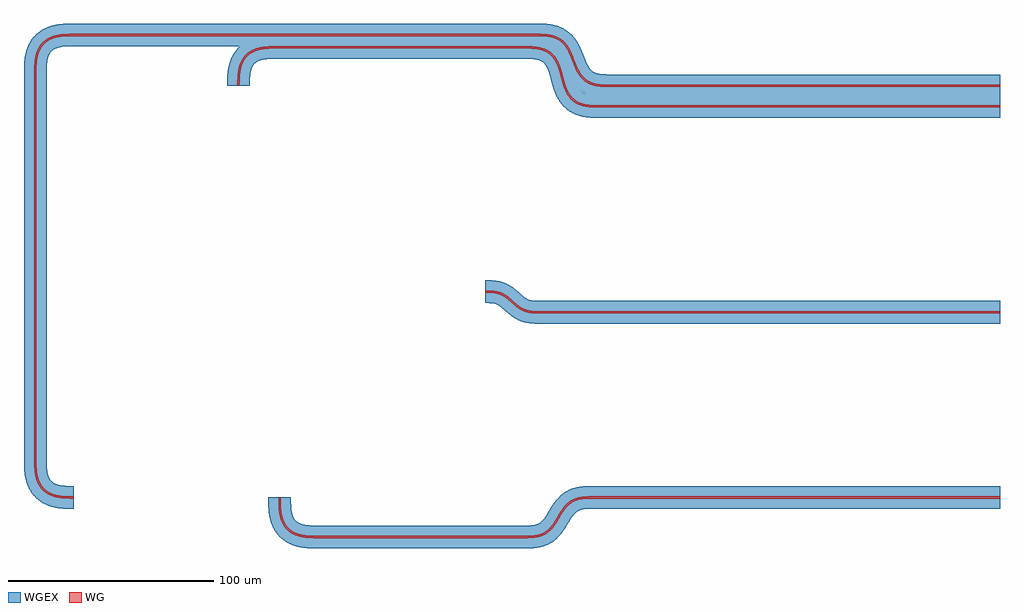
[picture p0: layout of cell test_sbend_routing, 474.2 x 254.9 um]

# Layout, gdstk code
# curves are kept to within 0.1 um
from math import pi, radians
import gdstk
lib = gdstk.Library(unit=1e-6, precision=1e-09)
def R(c, l, rs):  # rectangles x0, y0, x1, y1
    for r in rs: c.add(gdstk.rectangle(r[:2], r[2:], *l))
def P(c, l, *ps):  # polygons
    for p in ps: c.add(gdstk.Polygon(p, *l))
WG = (1, 0)
WGEX = (1, 1)

demo_straight_cssym_4d6c = lib.new_cell('DEMO.straight_CSsym_4d6c5e63_1000_L197759')
R(demo_straight_cssym_4d6c, WG, [(0,-0.5,197.759,0.5)])
R(demo_straight_cssym_4d6c, WGEX, [(0,-5.5,197.759,5.5)])

demo_bend_s_euler_cssym_ = lib.new_cell('DEMO.bend_s_euler_CSsym_4d6c5e63_1000_O19p201_R10_R150')
P(demo_bend_s_euler_cssym_, WG, [(0,-0.5),(0,0.5),(4.009,0.605),(6.866,1.039),(9.305,1.901),(11.251,3.151),(12.578,4.395),(14.066,6.233),(17.89,12.412),(19.326,14.433),(21.231,16.465),(23.048,17.796),(25.096,18.74),(27.257,19.309),(30.001,19.631),(33.54,19.701),(33.54,18.701),(29.531,18.596),(26.675,18.162),(24.235,17.3),(22.289,16.05),(20.962,14.806),(19.475,12.968),(15.65,6.789),(14.214,4.768),(12.309,2.736),(10.492,1.405),(8.444,0.461),(6.283,-0.108),(3.54,-0.43)])
P(demo_bend_s_euler_cssym_, WGEX, [(0,-5.5),(0,5.5),(3.184,5.56),(5.176,5.789),(6.863,6.28),(8.105,7.037),(9.158,8.068),(10.12,9.314),(13.69,15.125),(15.856,18.087),(18.212,20.464),(20.868,22.309),(23.442,23.458),(26.334,24.223),(29.382,24.601),(33.54,24.701),(33.54,13.701),(30.357,13.641),(28.365,13.412),(26.677,12.921),(25.435,12.164),(24.501,11.267),(23.42,9.887),(19.85,4.076),(17.91,1.386),(15.621,-1.009),(13.034,-2.901),(10.466,-4.123),(7.56,-4.953),(4.158,-5.4)])

c_demo_straight_cssym_4d6c = lib.new_cell('DEMO.straight_CSsym_4d6c5e63_1000_L100000')
R(c_demo_straight_cssym_4d6c, WG, [(0,-0.5,100,0.5)])
R(c_demo_straight_cssym_4d6c, WGEX, [(0,-5.5,100,5.5)])

c_demo_bend_s_euler_cssym_ = lib.new_cell('DEMO.bend_s_euler_CSsym_4d6c5e63_1000_O10_R10_R150')
P(c_demo_bend_s_euler_cssym_, WG, [(0,-0.5),(0,0.5),(2.67,0.544),(4.759,0.755),(6.52,1.172),(8.175,1.875),(10.565,3.465),(15.73,7.821),(17.123,8.737),(18.631,9.488),(20.239,10.01),(21.884,10.312),(26.254,10.5),(26.254,9.5),(23.584,9.456),(21.495,9.245),(19.734,8.828),(18.079,8.125),(15.689,6.535),(10.525,2.179),(9.132,1.263),(7.623,0.512),(6.016,-0.01),(4.37,-0.312)])
P(c_demo_bend_s_euler_cssym_, WGEX, [(0,-5.5),(0,5.5),(3.604,5.639),(5.71,6.229),(7.471,7.393),(13.068,12.065),(15.276,13.43),(17.114,14.265),(19.041,14.864),(21.246,15.272),(26.254,15.5),(26.254,4.5),(22.65,4.361),(20.545,3.771),(18.784,2.607),(13.186,-2.065),(11.319,-3.245),(9.14,-4.265),(7.213,-4.864),(5.008,-5.272)])

c_demo_straight_cssym_4d6c_ = lib.new_cell('DEMO.straight_CSsym_4d6c5e63_1000_L223746')
R(c_demo_straight_cssym_4d6c_, WG, [(0,-0.5,223.746,0.5)])
R(c_demo_straight_cssym_4d6c_, WGEX, [(0,-5.5,223.746,5.5)])

c_demo_straight_cssym_4d6c__ = lib.new_cell('DEMO.straight_CSsym_4d6c5e63_1000_L187299')
R(c_demo_straight_cssym_4d6c__, WG, [(0,-0.5,187.299,0.5)])
R(c_demo_straight_cssym_4d6c__, WGEX, [(0,-5.5,187.299,5.5)])

demo_bend_euler_cssym_4d = lib.new_cell('DEMO.bend_euler_CSsym_4d6c5e63_1000_R10_A90_R150')
P(demo_bend_euler_cssym_4d, WG, [(0,-0.5),(0,0.5),(5.845,0.715),(7.918,1.042),(9.683,1.509),(12.281,2.658),(14.322,4.199),(15.91,6.2),(17.11,8.772),(17.659,10.782),(17.986,12.856),(18.201,18.701),(19.201,18.701),(19.035,13.289),(18.38,9.504),(17.177,6.404),(16.298,4.976),(15.219,3.681),(13.951,2.569),(12.542,1.657),(11.034,0.937),(9.197,0.321),(5.412,-0.334)])
P(demo_bend_euler_cssym_4d, WGEX, [(0,-5.5),(0,5.5),(4.198,5.589),(6.893,5.936),(9.219,6.691),(10.834,7.781),(12.01,9.482),(12.765,11.808),(13.112,14.503),(13.201,18.701),(24.201,18.701),(23.983,12.512),(23.662,10.222),(23.109,7.851),(22.396,5.785),(21.415,3.731),(20.128,1.745),(18.801,0.193),(17.276,-1.181),(15.308,-2.522),(13.261,-3.551),(11.194,-4.306),(8.813,-4.898),(6.51,-5.248)])

c_demo_bend_s_euler_cssym__ = lib.new_cell('DEMO.bend_s_euler_CSsym_4d6c5e63_1000_O28p701_R10_R150')
P(c_demo_bend_s_euler_cssym__, WG, [(0,-0.5),(0,0.5),(5.325,0.694),(7.399,1.028),(9.398,1.609),(11.701,2.762),(13.641,4.432),(15.164,6.523),(16.408,9.119),(17.25,11.63),(19.024,18.135),(20.198,21.213),(21.733,23.853),(22.805,25.147),(23.836,26.107),(26.217,27.596),(29.113,28.588),(32.381,29.078),(36.996,29.201),(36.996,28.201),(31.671,28.007),(29.597,27.673),(27.598,27.092),(25.295,25.939),(23.356,24.269),(21.832,22.178),(20.588,19.582),(19.746,17.071),(17.973,10.566),(16.798,7.488),(15.263,4.848),(14.191,3.554),(13.16,2.594),(10.779,1.105),(7.883,0.113),(4.615,-0.377)])
P(c_demo_bend_s_euler_cssym__, WGEX, [(0,-5.5),(0,5.5),(3.92,5.587),(6.683,5.996),(8.728,6.799),(10.125,8.008),(11.114,9.526),(11.97,11.53),(14.073,19.047),(15.385,22.701),(17.05,25.854),(19.179,28.589),(20.667,29.974),(22.342,31.172),(24.442,32.282),(26.566,33.076),(28.659,33.607),(31.013,33.971),(36.996,34.201),(36.996,23.201),(33.076,23.114),(30.313,22.705),(28.268,21.902),(26.871,20.693),(25.882,19.175),(25.026,17.171),(22.834,9.36),(21.611,6),(19.946,2.847),(17.817,0.112),(16.329,-1.273),(14.654,-2.471),(12.554,-3.581),(10.43,-4.375),(8.337,-4.906),(5.983,-5.27)])

c_demo_straight_cssym_4d6c___ = lib.new_cell('DEMO.straight_CSsym_4d6c5e63_1000_L120000')
R(c_demo_straight_cssym_4d6c___, WG, [(0,-0.5,120,0.5)])
R(c_demo_straight_cssym_4d6c___, WGEX, [(0,-5.5,120,5.5)])

c_demo_straight_cssym_4d6c____ = lib.new_cell('DEMO.straight_CSsym_4d6c5e63_1000_L194303')
R(c_demo_straight_cssym_4d6c____, WG, [(0,-0.5,194.303,0.5)])
R(c_demo_straight_cssym_4d6c____, WGEX, [(0,-5.5,194.303,5.5)])

c_demo_straight_cssym_4d6c_____ = lib.new_cell('DEMO.straight_CSsym_4d6c5e63_1000_L224701')
R(c_demo_straight_cssym_4d6c_____, WG, [(0,-0.5,224.701,0.5)])
R(c_demo_straight_cssym_4d6c_____, WGEX, [(0,-5.5,224.701,5.5)])

c_demo_bend_s_euler_cssym___ = lib.new_cell('DEMO.bend_s_euler_CSsym_4d6c5e63_1000_O24p701_R10_R150')
P(c_demo_bend_s_euler_cssym___, WG, [(0,-0.5),(0,0.5),(5.285,0.708),(7.083,1.009),(8.822,1.504),(10.902,2.49),(12.704,3.904),(14.2,5.672),(15.538,7.903),(18.817,15.779),(20.181,18.453),(21.782,20.699),(23.822,22.596),(26.011,23.833),(28.648,24.669),(31.629,25.091),(35.946,25.201),(35.946,24.201),(30.662,23.993),(28.863,23.692),(27.124,23.197),(25.045,22.211),(23.242,20.797),(21.747,19.029),(20.408,16.798),(17.129,8.922),(15.765,6.248),(13.981,3.793),(12.124,2.105),(9.936,0.868),(7.298,0.032),(4.317,-0.39)])
P(c_demo_bend_s_euler_cssym___, WGEX, [(0,-5.5),(0,5.5),(3.644,5.577),(6.008,5.891),(7.944,6.559),(9.309,7.58),(10.32,8.855),(11.276,10.56),(14.122,17.521),(15.544,20.422),(17.286,23.089),(19.045,25.085),(20.554,26.396),(22.259,27.535),(24.031,28.424),(25.814,29.085),(27.919,29.625),(30.278,29.988),(35.946,30.201),(35.946,19.201),(32.303,19.124),(29.939,18.81),(28.002,18.142),(26.637,17.121),(25.627,15.846),(24.67,14.141),(21.824,7.18),(20.402,4.279),(18.881,1.906),(16.901,-0.384),(15.392,-1.695),(13.688,-2.834),(11.916,-3.723),(10.133,-4.384),(8.028,-4.924),(5.668,-5.287)])

c_demo_straight_cssym_4d6c______ = lib.new_cell('DEMO.straight_CSsym_4d6c5e63_1000_L500')
R(c_demo_straight_cssym_4d6c______, WG, [(0,-0.5,0.5,0.5)])
R(c_demo_straight_cssym_4d6c______, WGEX, [(0,-5.5,0.5,5.5)])

c_demo_straight_cssym_4d6c_______ = lib.new_cell('DEMO.straight_CSsym_4d6c5e63_1000_L189353')
R(c_demo_straight_cssym_4d6c_______, WG, [(0,-0.5,189.353,0.5)])
R(c_demo_straight_cssym_4d6c_______, WGEX, [(0,-5.5,189.353,5.5)])

test_sbend_routing = lib.new_cell('test_sbend_routing')
test_sbend_routing.add(gdstk.Reference(demo_straight_cssym_4d6c, (52.241,0)))
test_sbend_routing.add(gdstk.Reference(demo_bend_s_euler_cssym_, (18.701,-19.201)))
test_sbend_routing.add(gdstk.Reference(c_demo_straight_cssym_4d6c, (-81.299,-19.201)))
test_sbend_routing.add(gdstk.Reference(c_demo_bend_s_euler_cssym_, (0,100), x_reflection=True))
test_sbend_routing.add(gdstk.Reference(c_demo_straight_cssym_4d6c_, (26.254,90), x_reflection=True))
test_sbend_routing.add(gdstk.Reference(c_demo_straight_cssym_4d6c__, (-218.701,18.701), rotation=pi/2))
test_sbend_routing.add(gdstk.Reference(demo_bend_euler_cssym_4d, (-101.299,218.701), rotation=pi))
test_sbend_routing.add(gdstk.Reference(demo_bend_euler_cssym_4d, (-200,224.701), rotation=pi))
test_sbend_routing.add(gdstk.Reference(c_demo_bend_s_euler_cssym__, (18.701,218.701), x_reflection=True))
test_sbend_routing.add(gdstk.Reference(c_demo_straight_cssym_4d6c___, (-101.299,218.701)))
test_sbend_routing.add(gdstk.Reference(c_demo_straight_cssym_4d6c____, (55.697,190), x_reflection=True))
test_sbend_routing.add(gdstk.Reference(demo_bend_euler_cssym_4d, (-218.701,18.701), rotation=3*pi/2))
test_sbend_routing.add(gdstk.Reference(c_demo_straight_cssym_4d6c_____, (-200,224.701)))
test_sbend_routing.add(gdstk.Reference(c_demo_bend_s_euler_cssym___, (24.701,224.701), x_reflection=True))
test_sbend_routing.add(gdstk.Reference(demo_bend_euler_cssym_4d, (-81.299,-19.201), rotation=pi, x_reflection=True))
test_sbend_routing.add(gdstk.Reference(c_demo_straight_cssym_4d6c______, (-100,0), rotation=3*pi/2))
test_sbend_routing.add(gdstk.Reference(c_demo_straight_cssym_4d6c_______, (60.647,200), x_reflection=True))

lib.write_gds('test_sbend_routing.gds')
